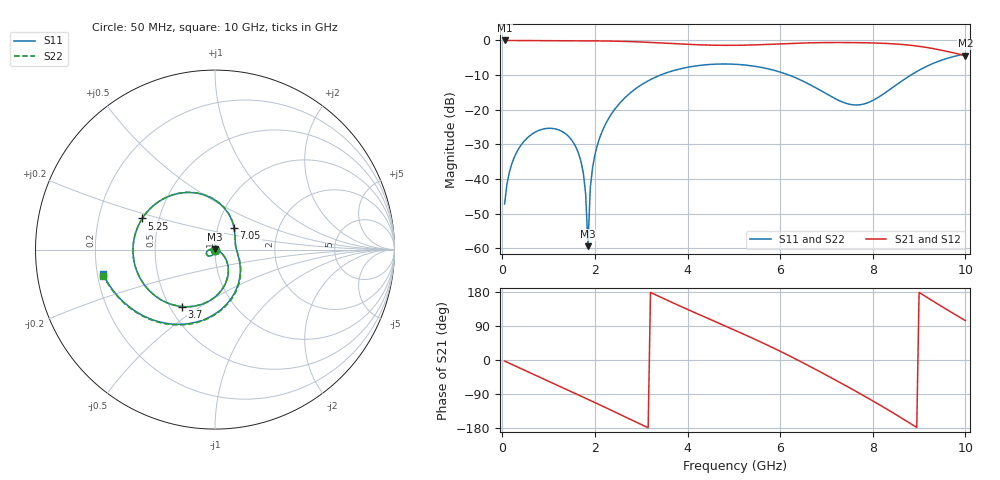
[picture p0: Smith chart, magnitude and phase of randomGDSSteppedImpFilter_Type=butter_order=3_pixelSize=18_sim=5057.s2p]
! freq	dB(S11)	phase(S11)	dB(S12)	phase(S12)
!  dB(S21)	phase(S21)	dB(S22)	phase(S22)
!S-par simulation data
#  GHz  S  DB  R 50
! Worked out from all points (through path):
!   200 points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, 50 MHz to 10 GHz, reference 50 ohm
!   highest |S21| = -0.01 dB at 50 MHz (marker M1); lowest = -4.4 dB at 10 GHz (marker M2)
!   group delay of S21, straight-line fit = 167 ps
!   lowest |S11| = -59.4 dB at 1.85 GHz (marker M3), VSWR 1.00, Z = 50.1 + j0.0836 ohm
!   |S11| at or under -10 dB: start of sweep to 3.416 GHz; 6.187 GHz to 8.823 GHz (2.636 GHz wide, 35.1 % of centre)
!   |S22| runs from -63.3 to -3.9 dB; largest |S21 - S12| = 0
!   S11 on the Smith chart (normalised r, x): 50 MHz: 1.00, -0.01; 3.7 GHz: 0.58, -0.42; 5.25 GHz: 0.40, +0.17; 7.05 GHz: 1.19, +0.30; 10 GHz: 0.22, -0.10
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0.05  -47.20 -88.2  -0.01 -2.8  -0.01 -2.8  -47.19 -88.1
0.3  -32.57 -106.6  -0.03 -16.8  -0.03 -16.8  -32.57 -106.6
0.8  -25.94 -135.5  -0.07 -44.7  -0.07 -44.7  -25.94 -135.4
1.4  -27.33 -169.8  -0.10 -78.2  -0.10 -78.2  -27.34 -169.4
1.75  -38.34 167.2  -0.11 -98.0  -0.11 -98.0  -38.39 169.3
1.8  -44.34 159.9  -0.12 -100.8  -0.12 -100.8  -44.48 164.5
1.85  -59.42 51.3  -0.12 -103.7  -0.12 -103.7  -63.28 29.0
1.9  -42.60 -10.1  -0.12 -106.5  -0.12 -106.5  -42.60 -14.2
2  -33.03 -20.5  -0.13 -112.2  -0.13 -112.2  -33.02 -22.0
2.15  -26.49 -30.4  -0.15 -120.9  -0.15 -120.9  -26.48 -31.2
2.8  -14.76 -68.9  -0.35 -158.6  -0.35 -158.6  -14.76 -69.3
3.4  -10.09 -103.4  -0.71 166.8  -0.71 166.8  -10.08 -103.7
3.7  -8.70 -120.1  -0.92 150.0  -0.92 150.0  -8.70 -120.4
5.05  -6.90 167.6  -1.40 77.0  -1.40 77.0  -6.90 167.3
5.25  -7.11 156.8  -1.36 66.1  -1.36 66.1  -7.11 156.5
6.05  -9.35 111.4  -0.97 20.1  -0.97 20.1  -9.35 111.0
6.7  -13.17 71.6  -0.68 -20.6  -0.68 -20.6  -13.17 71.1
7.05  -15.81 49.3  -0.61 -43.4  -0.61 -43.4  -15.81 49.0
7.7  -18.61 5.7  -0.65 -87.0  -0.65 -87.0  -18.61 6.2
8.35  -14.34 -42.9  -0.91 -133.0  -0.91 -133.0  -14.34 -41.8
9.05  -8.25 -97.0  -1.80 174.4  -1.80 174.4  -8.25 -96.0
10  -3.89 -167.7  -4.38 104.1  -4.38 104.1  -3.90 -166.8
